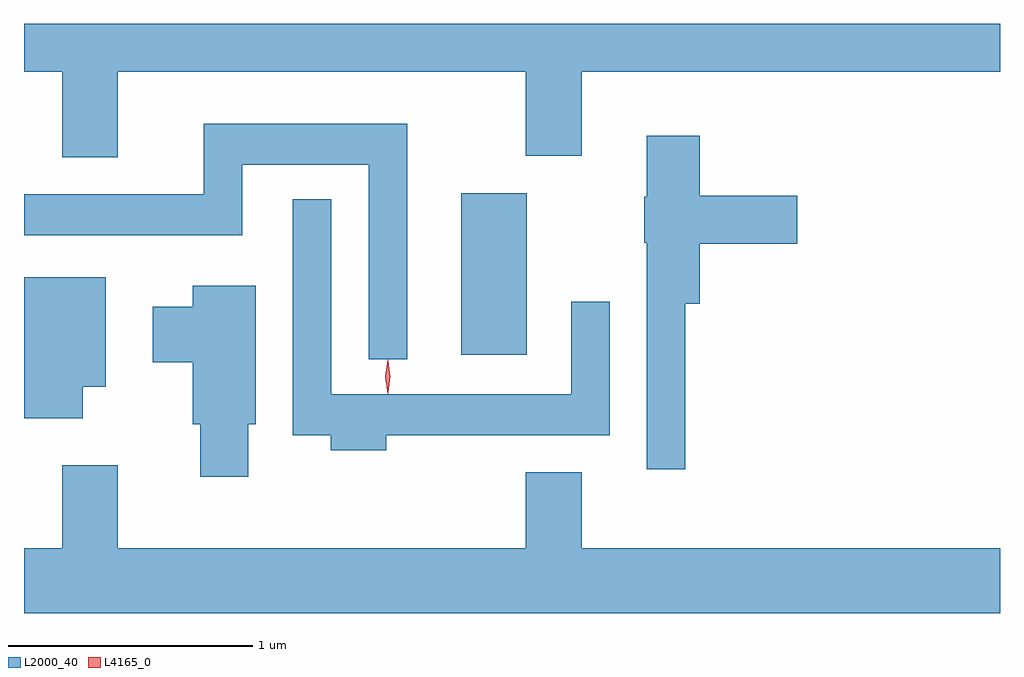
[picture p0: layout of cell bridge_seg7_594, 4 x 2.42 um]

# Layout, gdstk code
import gdstk
lib = gdstk.Library(unit=1e-6, precision=1e-09)
def R(c, l, rs):  # rectangles x0, y0, x1, y1
    for r in rs: c.add(gdstk.rectangle(r[:2], r[2:], *l))
def P(c, l, *ps):  # polygons
    for p in ps: c.add(gdstk.Polygon(p, *l))
L2000_40 = (2000, 40)
L4165_0 = (4165, 0)

bridge_seg7_594 = lib.new_cell('bridge_seg7_594')
R(bridge_seg7_594, L2000_40, [(625.586,1735.356,625.854,1736.019)])
P(bridge_seg7_594, L2000_40, [(624.179,1736.516),(625.851,1736.516),(625.851,1736.171),(626.079,1736.171),(626.079,1736.516),(627.794,1736.516),(627.794,1736.714),(623.794,1736.714),(623.794,1736.516),(623.951,1736.516),(623.951,1736.166),(624.179,1736.166)],
  [(625.364,1736.304),(624.531,1736.304),(624.531,1736.014),(623.794,1736.014),(623.794,1735.846),(624.689,1735.846),(624.689,1736.136),(625.206,1736.136),(625.206,1735.338),(625.364,1735.338)],
  [(626.504,1735.566),(626.564,1735.566),(626.564,1735.811),(626.964,1735.811),(626.964,1736.009),(626.564,1736.009),(626.564,1736.254),(626.346,1736.254),(626.346,1736.005),(626.336,1736.005),(626.336,1735.815),(626.346,1735.815),(626.346,1734.888),(626.504,1734.888)],
  [(625.279,1735.026),(626.194,1735.026),(626.194,1735.573),(626.036,1735.573),(626.036,1735.194),(625.054,1735.194),(625.054,1735.993),(624.896,1735.993),(624.896,1735.026),(625.051,1735.026),(625.051,1734.966),(625.279,1734.966)],
  [(624.034,1735.226),(624.129,1735.226),(624.129,1735.674),(623.794,1735.674),(623.794,1735.096),(624.034,1735.096)],
  [(624.714,1735.071),(624.744,1735.071),(624.744,1735.639),(624.486,1735.639),(624.486,1735.554),(624.321,1735.554),(624.321,1735.326),(624.486,1735.326),(624.486,1735.071),(624.516,1735.071),(624.516,1734.856),(624.714,1734.856)],
  [(627.794,1734.564),(626.079,1734.564),(626.079,1734.874),(625.851,1734.874),(625.851,1734.564),(624.179,1734.564),(624.179,1734.904),(623.951,1734.904),(623.951,1734.564),(623.794,1734.564),(623.794,1734.296),(627.794,1734.296)])
P(bridge_seg7_594, L4165_0, [(625.284,1735.197),(625.275,1735.267),(625.284,1735.336),(625.285,1735.336),(625.285,1735.336),(625.295,1735.267),(625.285,1735.197),(625.285,1735.197)],
  [(625.286,1735.199),(625.285,1735.2),(625.276,1735.266),(625.285,1735.332),(625.286,1735.333),(625.286,1735.332),(625.296,1735.266),(625.286,1735.2)])

lib.write_gds('bridge_seg7_594.gds')
